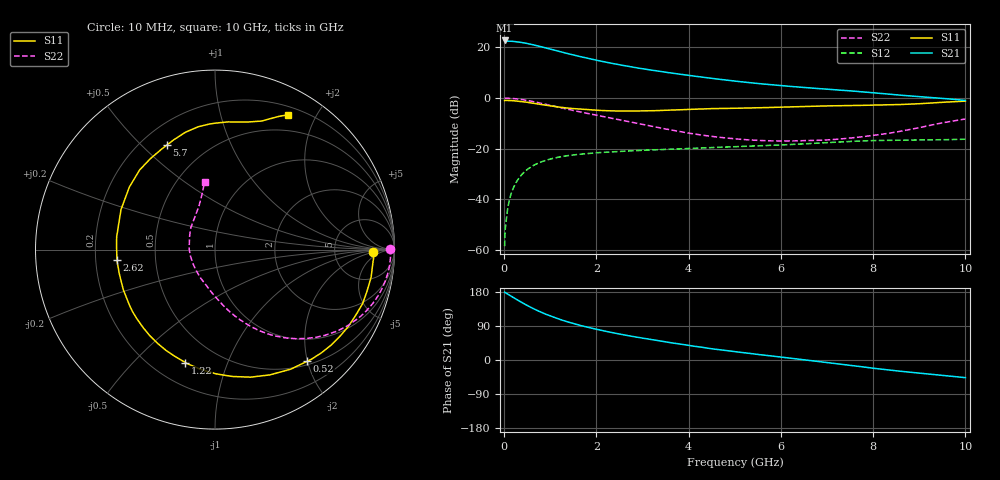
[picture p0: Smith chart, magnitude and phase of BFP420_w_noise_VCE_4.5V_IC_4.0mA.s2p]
! Infineon Technologies  Discrete & RF Semiconductors
! BFP420
! VCE =  4.5 V,  IC =  4.0 mA
! Common Emitter S-Parameters:  Jan 2016
# GHz  S  MA  R  50
!  f  S11  S21  S12  S22
! GHz  MAG  ANG  MAG  ANG  MAG  ANG  MAG  ANG
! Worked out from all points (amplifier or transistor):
!   233 points, 10 MHz to 10 GHz, reference 50 ohm
!   highest |S21| = 22.5 dB at 10 MHz (marker M1)
!   |S21| within 3 dB of that: start of sweep to 916.6 MHz
!   unconditionally stable (mu >= 1): start of sweep to 13.06 MHz; 3.237 GHz to end of sweep
!   at 200 MHz: K = 0.14, MSG = 28.9 dB, |S12| = -35.5 dB
!   at 1.74 GHz: K = 0.53, MSG = 18.9 dB, |S12| = -22.0 dB
!   at 10 GHz: K = 1.14, MAG = 5.4 dB, |S12| = -16.3 dB
!   lowest NFmin = 0.61 dB at 900 MHz
!   S11 on the Smith chart (normalised r, x): 10 MHz: 16, -2; 520 MHz: 0.56, -1.99; 1.22 GHz: 0.33, -0.72; 2.62 GHz: 0.29, -0.05; 5.7 GHz: 0.30, +0.60; 10 GHz: 0.29, +1.64
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0.01  0.8811 -1.0  13.4 179.0  0.0012 12.6  0.9773 0.3
0.02  0.886 -2.2  13 178.4  0.0024 45.6  0.9788 -1.0
0.095  0.883 -9.5  13.02 172.7  0.0082 74.8  0.9767 -5.1
0.2  0.876 -20.0  12.84 164.9  0.0167 74.5  0.9637 -10.8
0.3  0.8576 -29.9  12.54 157.6  0.0246 70.9  0.9435 -16.0
0.4  0.8378 -39.4  12.15 150.6  0.032 67.0  0.9165 -20.9
0.52  0.8068 -50.5  11.57 142.7  0.0399 62.0  0.8778 -26.5
0.66  0.7706 -62.8  10.85 134.0  0.0478 56.5  0.829 -32.4
0.8  0.7379 -74.4  10.09 126.1  0.0545 51.8  0.779 -37.7
1  0.692 -89.6  9.068 116.1  0.0622 45.9  0.709 -44.3
1.22  0.6504 -104.7  8.04 106.6  0.0687 40.7  0.6387 -50.6
1.42  0.6212 -117.1  7.233 99.0  0.0733 36.7  0.5824 -55.4
1.68  0.5924 -131.7  6.355 90.3  0.078 32.5  0.5183 -61.0
2.2  0.5575 -156.4  5.023 75.7  0.085 26.3  0.4157 -70.3
2.62  0.5491 -174.0  4.256 65.7  0.0891 22.4  0.3484 -77.5
3.4  0.5625 160.0  3.275 49.9  0.0954 17.3  0.2534 -91.4
4.1  0.5934 141.7  2.679 36.7  0.1013 13.8  0.1948 -108.0
5.1  0.6234 123.8  2.078 20.6  0.1095 9.2  0.1528 -136.2
5.7  0.641 114.8  1.833 12.0  0.1146 6.8  0.1423 -155.0
6.8  0.6833 100.3  1.519 -3.8  0.1278 1.7  0.1453 170.9
8.4  0.726 78.1  1.163 -27.1  0.1452 -10.7  0.204 125.4
10  0.8558 61.5  0.884 -46.6  0.1526 -19.7  0.3813 98.7
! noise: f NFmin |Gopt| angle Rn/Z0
0.9  0.61  0.27  32  0.16
1.8  1.03  0.14  83  0.13
2.4  1.11  0.17  110  0.14
3  1.23  0.2  153  0.11
4  1.42  0.31  -151  0.11
5  1.77  0.38  -123  0.23
6  2.35  0.47  -104  0.33
